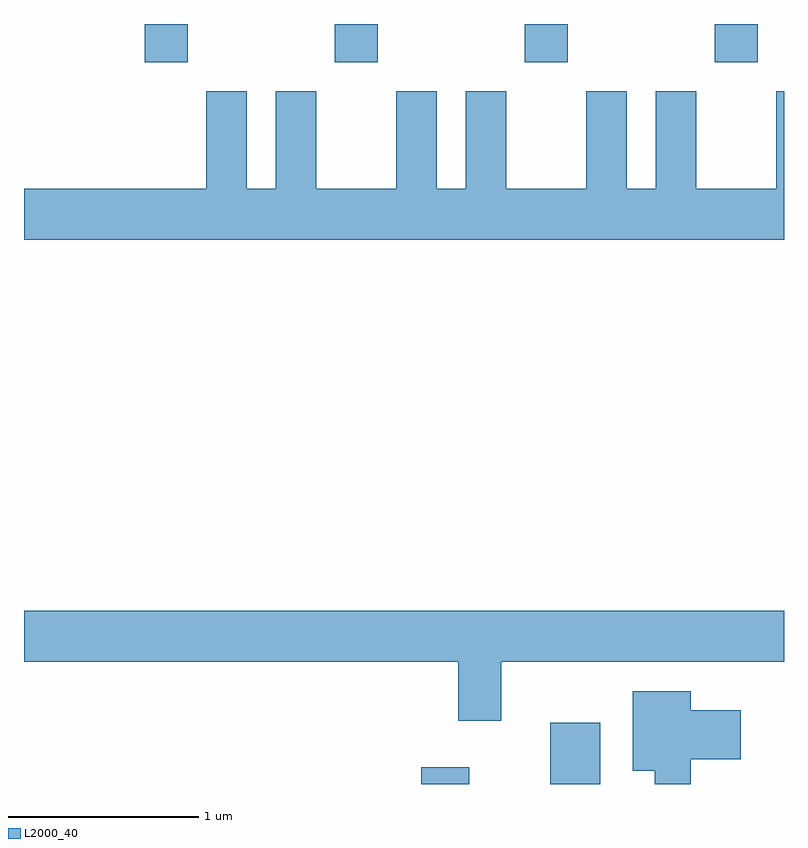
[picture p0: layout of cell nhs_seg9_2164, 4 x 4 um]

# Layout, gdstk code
import gdstk
lib = gdstk.Library(unit=1e-6, precision=1e-09)
def R(c, l, rs):  # rectangles x0, y0, x1, y1
    for r in rs: c.add(gdstk.rectangle(r[:2], r[2:], *l))
def A(c, l, x, y, w, h, nx, ny, dx, dy):  # array of equal rectangles
    R(c, l, [(x+i*dx, y+j*dy, x+i*dx+w, y+j*dy+h) for i in range(nx) for j in range(ny)])
def P(c, l, *ps):  # polygons
    for p in ps: c.add(gdstk.Polygon(p, *l))
L2000_40 = (2000, 40)

nhs_seg9_2164 = lib.new_cell('nhs_seg9_2164')
A(nhs_seg9_2164, L2000_40, 248.246, 2068.231, 0.228, 0.201, 4, 1, 1, 0)
R(nhs_seg9_2164, L2000_40, [(249.701,2064.432,249.954,2064.519), (250.381,2064.432,250.644,2064.754)])
P(nhs_seg9_2164, L2000_40, [(251.611,2068.079),(251.571,2068.079),(251.571,2067.564),(251.149,2067.564),(251.149,2068.079),(250.936,2068.079),(250.936,2067.564),(250.784,2067.564),(250.784,2068.079),(250.571,2068.079),(250.571,2067.564),(250.149,2067.564),(250.149,2068.079),(249.936,2068.079),(249.936,2067.564),(249.784,2067.564),(249.784,2068.079),(249.571,2068.079),(249.571,2067.564),(249.149,2067.564),(249.149,2068.079),(248.936,2068.079),(248.936,2067.564),(248.784,2067.564),(248.784,2068.079),(248.571,2068.079),(248.571,2067.564),(247.611,2067.564),(247.611,2067.296),(251.611,2067.296)],
  [(250.124,2065.076),(251.611,2065.076),(251.611,2065.344),(247.611,2065.344),(247.611,2065.076),(249.896,2065.076),(249.896,2064.766),(250.124,2064.766)],
  [(251.119,2064.561),(251.384,2064.561),(251.384,2064.819),(251.119,2064.819),(251.119,2064.919),(250.816,2064.919),(250.816,2064.501),(250.931,2064.501),(250.931,2064.432),(251.119,2064.432)])

lib.write_gds('nhs_seg9_2164.gds')
